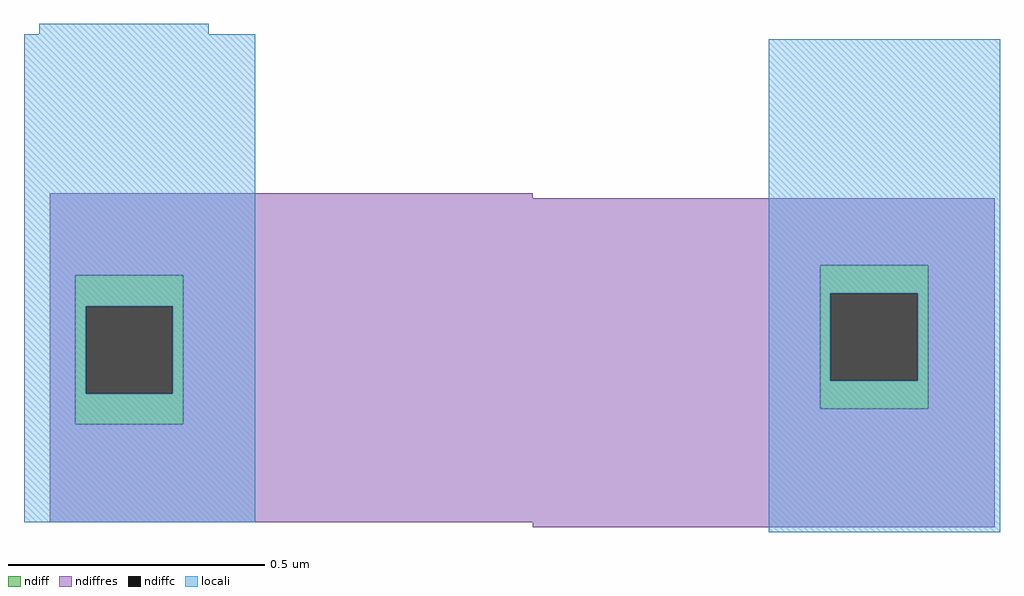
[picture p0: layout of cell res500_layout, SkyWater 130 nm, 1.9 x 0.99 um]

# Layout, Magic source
magic
tech sky130A
magscale 1 2
<< ndiff >>
rect 238 -200 280 -188
rect 238 -234 242 -200
rect 276 -234 280 -200
rect 238 -246 280 -234
rect 528 -195 570 -184
rect 528 -229 532 -195
rect 566 -229 570 -195
rect 528 -240 570 -229
<< ndiffc >>
rect 242 -234 276 -200
rect 532 -229 566 -195
<< ndiffres >>
rect 228 -158 416 -156
rect 228 -184 596 -158
rect 228 -188 528 -184
rect 228 -246 238 -188
rect 280 -240 528 -188
rect 570 -240 596 -184
rect 280 -246 596 -240
rect 228 -284 596 -246
rect 416 -286 596 -284
<< locali >>
rect 224 -94 290 -90
rect 218 -200 308 -94
rect 218 -234 242 -200
rect 276 -234 308 -200
rect 218 -284 308 -234
rect 508 -195 598 -96
rect 508 -229 532 -195
rect 566 -229 598 -195
rect 508 -288 598 -229
<< end >>
